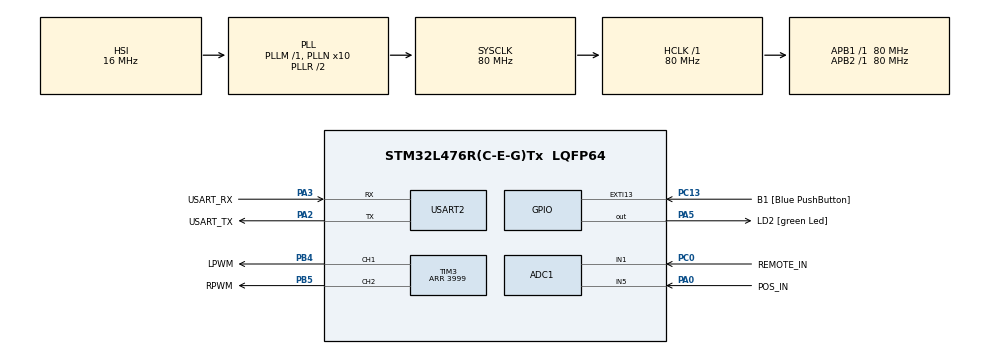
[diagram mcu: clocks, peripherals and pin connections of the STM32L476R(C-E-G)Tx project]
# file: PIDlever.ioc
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ADC1.Channel-0\#ChannelRegularConversion=ADC_CHANNEL_1
ADC1.NbrOfConversion=1
ADC1.NbrOfConversionFlag=1
ADC1.OffsetNumber-0\#ChannelRegularConversion=ADC_OFFSET_NONE
ADC1.Rank-0\#ChannelRegularConversion=1
ADC1.SamplingTime-0\#ChannelRegularConversion=ADC_SAMPLETIME_92CYCLES_5
ADC1.master=1
Mcu.Family=STM32L4
Mcu.Name=STM32L476R(C-E-G)Tx
Mcu.Package=LQFP64
NVIC.PriorityGroup=NVIC_PRIORITYGROUP_4
PA0.GPIO_Label=POS_IN
PA0.Signal=ADCx_IN5
PA13\ (JTMS-SWDIO).GPIO_Label=TMS
PA13\ (JTMS-SWDIO).Mode=Serial_Wire
PA13\ (JTMS-SWDIO).Signal=SYS_JTMS-SWDIO
PA14\ (JTCK-SWCLK).GPIO_Label=TCK
PA14\ (JTCK-SWCLK).Mode=Serial_Wire
PA14\ (JTCK-SWCLK).Signal=SYS_JTCK-SWCLK
PA2.GPIO_Label=USART_TX
PA2.GPIO_Mode=GPIO_MODE_AF_PP
PA2.GPIO_PuPd=GPIO_NOPULL
PA2.GPIO_Speed=GPIO_SPEED_FREQ_VERY_HIGH
PA2.Mode=Asynchronous
PA2.Signal=USART2_TX
PA3.GPIO_Label=USART_RX
PA3.GPIO_Mode=GPIO_MODE_AF_PP
PA3.GPIO_PuPd=GPIO_NOPULL
PA3.GPIO_Speed=GPIO_SPEED_FREQ_VERY_HIGH
PA3.Mode=Asynchronous
PA3.Signal=USART2_RX
PA5.GPIO_Label=LD2 [green Led]
PA5.GPIO_ModeDefaultOutputPP=GPIO_MODE_OUTPUT_PP
PA5.GPIO_PuPd=GPIO_NOPULL
PA5.GPIO_Speed=GPIO_SPEED_FREQ_LOW
PA5.Signal=GPIO_Output
PB3\ (JTDO-TRACESWO).GPIO_Label=SWO
PB3\ (JTDO-TRACESWO).Signal=SYS_JTDO-SWO
PB4\ (NJTRST).GPIO_Label=LPWM
PB4\ (NJTRST).Signal=S_TIM3_CH1
PB5.GPIO_Label=RPWM
PB5.Signal=S_TIM3_CH2
PC0.GPIO_Label=REMOTE_IN
PC0.Signal=ADCx_IN1
PC13.GPIO_Label=B1 [Blue PushButton]
PC13.GPIO_ModeDefaultEXTI=GPIO_MODE_IT_FALLING
PC13.GPIO_PuPd=GPIO_NOPULL
PC13.Signal=GPXTI13
PC14-OSC32_IN\ (PC14).Mode=LSE-External-Oscillator
PC14-OSC32_IN\ (PC14).Signal=RCC_OSC32_IN
PC15-OSC32_OUT\ (PC15).Mode=LSE-External-Oscillator
PC15-OSC32_OUT\ (PC15).Signal=RCC_OSC32_OUT
PH0-OSC_IN\ (PH0).Signal=RCC_OSC_IN
PH1-OSC_OUT\ (PH1).Signal=RCC_OSC_OUT
ProjectManager.HeapSize=0x200
ProjectManager.StackSize=0x400
ProjectManager.TargetToolchain=STM32CubeIDE
RCC.ADCFreq_Value=64000000
RCC.AHBFreq_Value=80000000
RCC.APB1Freq_Value=80000000
RCC.APB1TimFreq_Value=80000000
RCC.APB2Freq_Value=80000000
RCC.APB2TimFreq_Value=80000000
RCC.CortexFreq_Value=80000000
RCC.HCLKFreq_Value=80000000
RCC.HSE_VALUE=8000000
RCC.HSI_VALUE=16000000
RCC.MSI_VALUE=4000000
RCC.PLLN=10
RCC.PLLSourceVirtual=RCC_PLLSOURCE_HSI
RCC.PREFETCH_ENABLE=1
RCC.SYSCLKFreq_VALUE=80000000
RCC.SYSCLKSource=RCC_SYSCLKSOURCE_PLLCLK
RCC.USBFreq_Value=64000000
RCC.VCOOutputFreq_Value=160000000
SH.ADCx_IN1.0=ADC1_IN1,IN1-Single-Ended
SH.ADCx_IN5.0=ADC1_IN5,IN5-Single-Ended
SH.S_TIM3_CH1.0=TIM3_CH1,PWM Generation1 CH1
SH.S_TIM3_CH2.0=TIM3_CH2,PWM Generation2 CH2
TIM3.AutoReloadPreload=TIM_AUTORELOAD_PRELOAD_ENABLE
TIM3.Channel-PWM\ Generation1\ CH1=TIM_CHANNEL_1
TIM3.Channel-PWM\ Generation2\ CH2=TIM_CHANNEL_2
TIM3.Period=3999
USART2.VirtualMode-Asynchronous=VM_ASYNC
VP_TIM3_VS_ClockSourceINT.Mode=Internal
board=NUCLEO-L476RG

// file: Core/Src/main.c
/* USER CODE BEGIN Header */
/**
  ******************************************************************************
  * @file           : main.c
  * @brief          : Main program body
  ******************************************************************************
  * @attention
  *
  * Copyright (c) 2026 STMicroelectronics.
  * All rights reserved.
  *
  * This software is licensed under terms that can be found in the LICENSE file
  * in the root directory of this software component.
  * If no LICENSE file comes with this software, it is provided AS-IS.
  *
  ******************************************************************************
  */
/* USER CODE END Header */
#include "main.h"

/* USER CODE BEGIN Includes */
#include <stdio.h>

/* USER CODE END Includes */

ADC_HandleTypeDef hadc1;

TIM_HandleTypeDef htim3;

UART_HandleTypeDef huart2;

void SystemClock_Config(void);
static void MX_GPIO_Init(void);
static void MX_USART2_UART_Init(void);
static void MX_ADC1_Init(void);
static void MX_TIM3_Init(void);
/* USER CODE BEGIN PFP */
static void motor_set(int16_t);
static uint32_t read_adc_channel(uint32_t channel);
/* USER CODE END PFP */

int main(void)
{

  /* USER CODE BEGIN 1 */
  char msg[24];
  int32_t adcRaw;
  float filtered = 0.0f;
  int len;
  int16_t cmd;
  int32_t error;
  int32_t prevError = 0;
  int32_t dTerm;
  int32_t iAccum = 0; // running accumulator, add with prevError
  float p = 4.50;
  float i = 0.001;
  float d = 30.0;

  uint8_t printCount = 0;

  /* USER CODE END 1 */

  /* MCU Configuration--------------------------------------------------------*/

  /* Reset of all peripherals, Initializes the Flash interface and the Systick. */
  HAL_Init();

  /* Configure the system clock */
  SystemClock_Config();

  /* Initialize all configured peripherals */
  MX_GPIO_Init();
  MX_USART2_UART_Init();
  MX_ADC1_Init();
  MX_TIM3_Init();
  /* USER CODE BEGIN 2 */
  HAL_TIM_PWM_Start(&htim3, TIM_CHANNEL_1);
  HAL_TIM_PWM_Start(&htim3, TIM_CHANNEL_2);
  HAL_UART_Transmit(&huart2, (uint8_t*)"BOOT\r\n", 6, HAL_MAX_DELAY);

  //motor driver, battery test
//  motor_set(1000);
//  HAL_Delay(2000);
//  motor_set(-1000);
//  HAL_Delay(2000);

  /* USER CODE END 2 */

  /* Infinite loop */
  while (1)
  {

  /* USER CODE BEGIN 3 */
	//read pos sensor
	adcRaw = read_adc_channel(ADC_CHANNEL_5);
	//filter sensor readings
	filtered = 0.15f * (float)adcRaw + 0.85f * filtered;
	adcRaw = (int32_t)filtered;

	if (adcRaw < 128)  adcRaw = 128;
	if (adcRaw > 2650) adcRaw = 2650;
	adcRaw -= 128;   // 0 - 2522
	adcRaw -= 1252;  // -1252 - 1270, zero = on target

	error = adcRaw;

	dTerm = error - prevError;
	iAccum += error;
	// clamp iAccum so it doesn't wind up to huge values
	if (iAccum >  50000) iAccum =  50000;
	if (iAccum < -50000) iAccum = -50000;

	int16_t cmdTarget = (int16_t)(p * (float)error + i * (float)iAccum + d * (float)dTerm);
	int16_t maxStep = 50;  // max change per 2ms loop — tune this
	if (cmdTarget - cmd >  maxStep) cmd += maxStep;
	else if (cmd - cmdTarget >  maxStep) cmd -= maxStep;
	else cmd  = cmdTarget;

	prevError = error;

	motor_set(cmd);

	// print every 10 loops (~100ms) without stalling the controller
	if (++printCount >= 10) {
	    printCount = 0;
	    len = snprintf(msg, sizeof(msg), "%ld %d\r\n", error, cmd);
	    HAL_UART_Transmit(&huart2, (uint8_t *)msg, (uint16_t)len, HAL_MAX_DELAY);
	}

	HAL_Delay(2);

  }
  /* USER CODE END 3 */
}

void SystemClock_Config(void)
{
  RCC_OscInitTypeDef RCC_OscInitStruct = {0};
  RCC_ClkInitTypeDef RCC_ClkInitStruct = {0};

  /** Configure the main internal regulator output voltage
  */
  if (HAL_PWREx_ControlVoltageScaling(PWR_REGULATOR_VOLTAGE_SCALE1) != HAL_OK)
  {
    Error_Handler();
  }

  /** Initializes the RCC Oscillators according to the specified parameters
  * in the RCC_OscInitTypeDef structure.
  */
  RCC_OscInitStruct.OscillatorType = RCC_OSCILLATORTYPE_HSI;
  RCC_OscInitStruct.HSIState = RCC_HSI_ON;
  RCC_OscInitStruct.HSICalibrationValue = RCC_HSICALIBRATION_DEFAULT;
  RCC_OscInitStruct.PLL.PLLState = RCC_PLL_ON;
  RCC_OscInitStruct.PLL.PLLSource = RCC_PLLSOURCE_HSI;
  RCC_OscInitStruct.PLL.PLLM = 1;
  RCC_OscInitStruct.PLL.PLLN = 10;
  RCC_OscInitStruct.PLL.PLLP = RCC_PLLP_DIV7;
  RCC_OscInitStruct.PLL.PLLQ = RCC_PLLQ_DIV2;
  RCC_OscInitStruct.PLL.PLLR = RCC_PLLR_DIV2;
  if (HAL_RCC_OscConfig(&RCC_OscInitStruct) != HAL_OK)
  {
    Error_Handler();
  }

  /** Initializes the CPU, AHB and APB buses clocks
  */
  RCC_ClkInitStruct.ClockType = RCC_CLOCKTYPE_HCLK|RCC_CLOCKTYPE_SYSCLK
                              |RCC_CLOCKTYPE_PCLK1|RCC_CLOCKTYPE_PCLK2;
  RCC_ClkInitStruct.SYSCLKSource = RCC_SYSCLKSOURCE_PLLCLK;
  RCC_ClkInitStruct.AHBCLKDivider = RCC_SYSCLK_DIV1;
  RCC_ClkInitStruct.APB1CLKDivider = RCC_HCLK_DIV1;
  RCC_ClkInitStruct.APB2CLKDivider = RCC_HCLK_DIV1;

  if (HAL_RCC_ClockConfig(&RCC_ClkInitStruct, FLASH_LATENCY_4) != HAL_OK)
  {
    Error_Handler();
  }
}

static void MX_ADC1_Init(void)
{

  ADC_MultiModeTypeDef multimode = {0};
  ADC_ChannelConfTypeDef sConfig = {0};

  /** Common config
  */
  hadc1.Instance = ADC1;
  hadc1.Init.ClockPrescaler = ADC_CLOCK_ASYNC_DIV1;
  hadc1.Init.Resolution = ADC_RESOLUTION_12B;
  hadc1.Init.DataAlign = ADC_DATAALIGN_RIGHT;
  hadc1.Init.ScanConvMode = ADC_SCAN_DISABLE;
  hadc1.Init.EOCSelection = ADC_EOC_SINGLE_CONV;
  hadc1.Init.LowPowerAutoWait = DISABLE;
  hadc1.Init.ContinuousConvMode = DISABLE;
  hadc1.Init.NbrOfConversion = 1;
  hadc1.Init.DiscontinuousConvMode = DISABLE;
  hadc1.Init.ExternalTrigConv = ADC_SOFTWARE_START;
  hadc1.Init.ExternalTrigConvEdge = ADC_EXTERNALTRIGCONVEDGE_NONE;
  hadc1.Init.DMAContinuousRequests = DISABLE;
  hadc1.Init.Overrun = ADC_OVR_DATA_PRESERVED;
  hadc1.Init.OversamplingMode = DISABLE;
  if (HAL_ADC_Init(&hadc1) != HAL_OK)
  {
    Error_Handler();
  }

  /** Configure the ADC multi-mode
  */
  multimode.Mode = ADC_MODE_INDEPENDENT;
  if (HAL_ADCEx_MultiModeConfigChannel(&hadc1, &multimode) != HAL_OK)
  {
    Error_Handler();
  }

  /** Configure Regular Channel
  */
  sConfig.Channel = ADC_CHANNEL_1;
  sConfig.Rank = ADC_REGULAR_RANK_1;
  sConfig.SamplingTime = ADC_SAMPLETIME_92CYCLES_5;
  sConfig.SingleDiff = ADC_SINGLE_ENDED;
  sConfig.OffsetNumber = ADC_OFFSET_NONE;
  sConfig.Offset = 0;
  if (HAL_ADC_ConfigChannel(&hadc1, &sConfig) != HAL_OK)
  {
    Error_Handler();
  }

}

static void MX_TIM3_Init(void)
{

  TIM_ClockConfigTypeDef sClockSourceConfig = {0};
  TIM_MasterConfigTypeDef sMasterConfig = {0};
  TIM_OC_InitTypeDef sConfigOC = {0};

  htim3.Instance = TIM3;
  htim3.Init.Prescaler = 0;
  htim3.Init.CounterMode = TIM_COUNTERMODE_UP;
  htim3.Init.Period = 3999;
  htim3.Init.ClockDivision = TIM_CLOCKDIVISION_DIV1;
  htim3.Init.AutoReloadPreload = TIM_AUTORELOAD_PRELOAD_ENABLE;
  if (HAL_TIM_Base_Init(&htim3) != HAL_OK)
  {
    Error_Handler();
  }
  sClockSourceConfig.ClockSource = TIM_CLOCKSOURCE_INTERNAL;
  if (HAL_TIM_ConfigClockSource(&htim3, &sClockSourceConfig) != HAL_OK)
  {
    Error_Handler();
  }
  if (HAL_TIM_PWM_Init(&htim3) != HAL_OK)
  {
    Error_Handler();
  }
  sMasterConfig.MasterOutputTrigger = TIM_TRGO_RESET;
  sMasterConfig.MasterSlaveMode = TIM_MASTERSLAVEMODE_DISABLE;
  if (HAL_TIMEx_MasterConfigSynchronization(&htim3, &sMasterConfig) != HAL_OK)
  {
    Error_Handler();
  }
  sConfigOC.OCMode = TIM_OCMODE_PWM1;
  sConfigOC.Pulse = 0;
  sConfigOC.OCPolarity = TIM_OCPOLARITY_HIGH;
  sConfigOC.OCFastMode = TIM_OCFAST_DISABLE;
  if (HAL_TIM_PWM_ConfigChannel(&htim3, &sConfigOC, TIM_CHANNEL_1) != HAL_OK)
  {
    Error_Handler();
  }
  if (HAL_TIM_PWM_ConfigChannel(&htim3, &sConfigOC, TIM_CHANNEL_2) != HAL_OK)
  {
    Error_Handler();
  }
  HAL_TIM_MspPostInit(&htim3);

}

static void MX_USART2_UART_Init(void)
{

  huart2.Instance = USART2;
  huart2.Init.BaudRate = 115200;
  huart2.Init.WordLength = UART_WORDLENGTH_8B;
  huart2.Init.StopBits = UART_STOPBITS_1;
  huart2.Init.Parity = UART_PARITY_NONE;
  huart2.Init.Mode = UART_MODE_TX_RX;
  huart2.Init.HwFlowCtl = UART_HWCONTROL_NONE;
  huart2.Init.OverSampling = UART_OVERSAMPLING_16;
  huart2.Init.OneBitSampling = UART_ONE_BIT_SAMPLE_DISABLE;
  huart2.AdvancedInit.AdvFeatureInit = UART_ADVFEATURE_NO_INIT;
  if (HAL_UART_Init(&huart2) != HAL_OK)
  {
    Error_Handler();
  }

}

static void MX_GPIO_Init(void)
{
  GPIO_InitTypeDef GPIO_InitStruct = {0};

  /* GPIO Ports Clock Enable */
  __HAL_RCC_GPIOC_CLK_ENABLE();
  __HAL_RCC_GPIOH_CLK_ENABLE();
  __HAL_RCC_GPIOA_CLK_ENABLE();
  __HAL_RCC_GPIOB_CLK_ENABLE();

  /*Configure GPIO pin Output Level */
  HAL_GPIO_WritePin(LD2_GPIO_Port, LD2_Pin, GPIO_PIN_RESET);

  /*Configure GPIO pin : B1_Pin */
  GPIO_InitStruct.Pin = B1_Pin;
  GPIO_InitStruct.Mode = GPIO_MODE_IT_FALLING;
  GPIO_InitStruct.Pull = GPIO_NOPULL;
  HAL_GPIO_Init(B1_GPIO_Port, &GPIO_InitStruct);

  /*Configure GPIO pin : LD2_Pin */
  GPIO_InitStruct.Pin = LD2_Pin;
  GPIO_InitStruct.Mode = GPIO_MODE_OUTPUT_PP;
  GPIO_InitStruct.Pull = GPIO_NOPULL;
  GPIO_InitStruct.Speed = GPIO_SPEED_FREQ_LOW;
  HAL_GPIO_Init(LD2_GPIO_Port, &GPIO_InitStruct);

}

/* USER CODE BEGIN 4 */
  static uint32_t read_adc_channel(uint32_t channel)
  {
      ADC_ChannelConfTypeDef sConfig = {0};

      sConfig.Channel = channel;
      sConfig.Rank = ADC_REGULAR_RANK_1;
      sConfig.SamplingTime = ADC_SAMPLETIME_92CYCLES_5;
      sConfig.SingleDiff = ADC_SINGLE_ENDED;
      sConfig.OffsetNumber = ADC_OFFSET_NONE;
      sConfig.Offset = 0;

      if (HAL_ADC_ConfigChannel(&hadc1, &sConfig) != HAL_OK) {
          Error_Handler();
      }
      if (HAL_ADC_Start(&hadc1) != HAL_OK) {
          Error_Handler();
      }
      if (HAL_ADC_PollForConversion(&hadc1, HAL_MAX_DELAY) != HAL_OK) {
          Error_Handler();
      }

      uint32_t value = HAL_ADC_GetValue(&hadc1);

      if (HAL_ADC_Stop(&hadc1) != HAL_OK) {
          Error_Handler();
      }
      return value;
  }

  static void motor_set(int16_t cmd){
      if (cmd > 3999)  cmd = 3999;
      if (cmd < -3999) cmd = -3999;

      // zero both first — prevents shoot-through on direction change
      __HAL_TIM_SET_COMPARE(&htim3, TIM_CHANNEL_1, 0);
      __HAL_TIM_SET_COMPARE(&htim3, TIM_CHANNEL_2, 0);

      // deadband: low duty cycle = near-stall = high peak current, so coast instead
      if (cmd > 200) {
          __HAL_TIM_SET_COMPARE(&htim3, TIM_CHANNEL_2, (uint16_t)cmd);
      } else if (cmd < -200) {
          __HAL_TIM_SET_COMPARE(&htim3, TIM_CHANNEL_1, (uint16_t)(-cmd));
      }
  }

/* USER CODE END 4 */

void Error_Handler(void)
{
  __disable_irq();
  while (1)
  {
  }
}
